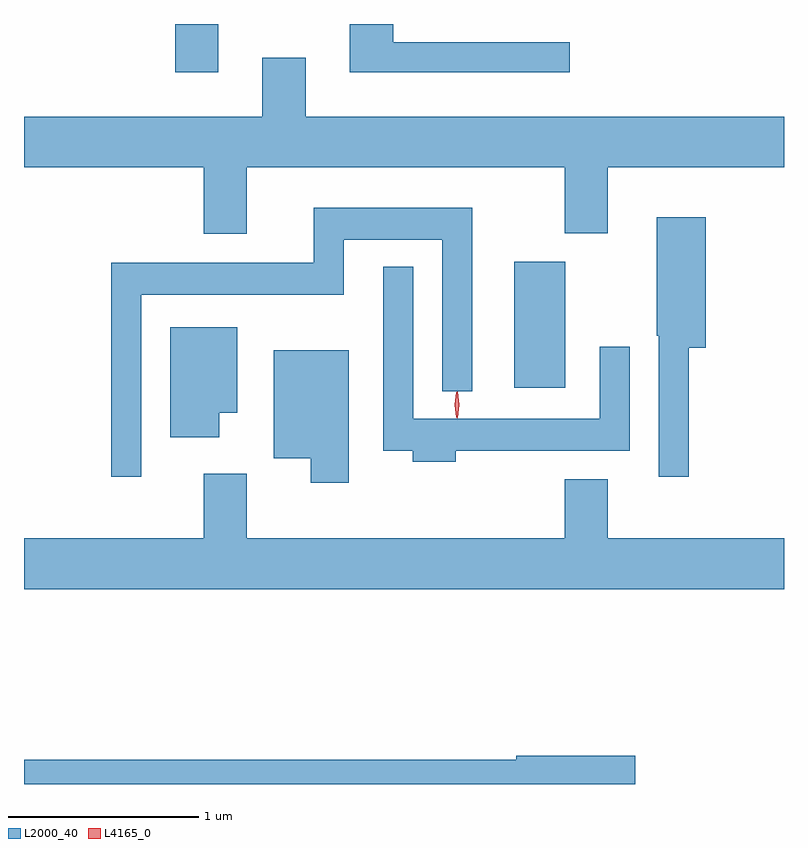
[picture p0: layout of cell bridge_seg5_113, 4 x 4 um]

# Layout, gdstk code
import gdstk
lib = gdstk.Library(unit=1e-6, precision=1e-09)
def R(c, l, rs):  # rectangles x0, y0, x1, y1
    for r in rs: c.add(gdstk.rectangle(r[:2], r[2:], *l))
def P(c, l, *ps):  # polygons
    for p in ps: c.add(gdstk.Polygon(p, *l))
L2000_40 = (2000, 40)
L4165_0 = (4165, 0)

bridge_seg5_113 = lib.new_cell('bridge_seg5_113')
R(bridge_seg5_113, L2000_40, [(1158.756,1522.236,1159.024,1522.899), (1156.971,1523.896,1157.199,1524.151)])
P(bridge_seg5_113, L2000_40, [(1159.048,1524.054),(1158.119,1524.054),(1158.119,1524.151),(1157.891,1524.151),(1157.891,1523.896),(1159.048,1523.896)],
  [(1157.659,1523.974),(1157.431,1523.974),(1157.431,1523.664),(1156.176,1523.664),(1156.176,1523.396),(1157.121,1523.396),(1157.121,1523.046),(1157.349,1523.046),(1157.349,1523.396),(1159.021,1523.396),(1159.021,1523.051),(1159.249,1523.051),(1159.249,1523.396),(1160.176,1523.396),(1160.176,1523.664),(1157.659,1523.664)],
  [(1156.794,1522.726),(1157.859,1522.726),(1157.859,1523.016),(1158.376,1523.016),(1158.376,1522.218),(1158.534,1522.218),(1158.534,1523.184),(1157.701,1523.184),(1157.701,1522.894),(1156.636,1522.894),(1156.636,1521.768),(1156.794,1521.768)],
  [(1159.674,1522.446),(1159.764,1522.446),(1159.764,1523.134),(1159.506,1523.134),(1159.506,1522.51),(1159.516,1522.51),(1159.516,1521.768),(1159.674,1521.768)],
  [(1158.449,1521.906),(1159.364,1521.906),(1159.364,1522.453),(1159.206,1522.453),(1159.206,1522.074),(1158.224,1522.074),(1158.224,1522.873),(1158.066,1522.873),(1158.066,1521.906),(1158.221,1521.906),(1158.221,1521.846),(1158.449,1521.846)],
  [(1157.204,1522.106),(1157.299,1522.106),(1157.299,1522.554),(1156.946,1522.554),(1156.946,1521.976),(1157.204,1521.976)],
  [(1157.884,1522.434),(1157.491,1522.434),(1157.491,1521.866),(1157.686,1521.866),(1157.686,1521.736),(1157.884,1521.736)],
  [(1160.176,1521.444),(1159.249,1521.444),(1159.249,1521.754),(1159.021,1521.754),(1159.021,1521.444),(1157.349,1521.444),(1157.349,1521.784),(1157.121,1521.784),(1157.121,1521.444),(1156.176,1521.444),(1156.176,1521.176),(1160.176,1521.176)],
  [(1159.394,1520.299),(1158.766,1520.299),(1158.766,1520.279),(1156.176,1520.279),(1156.176,1520.151),(1159.394,1520.151)])
P(bridge_seg5_113, L4165_0, [(1158.452,1522.079),(1158.452,1522.08),(1158.442,1522.146),(1158.452,1522.213),(1158.452,1522.213),(1158.453,1522.213),(1158.462,1522.146),(1158.453,1522.08)],
  [(1158.457,1522.077),(1158.457,1522.078),(1158.447,1522.147),(1158.457,1522.216),(1158.457,1522.216),(1158.458,1522.216),(1158.467,1522.147),(1158.458,1522.078)])

lib.write_gds('bridge_seg5_113.gds')
